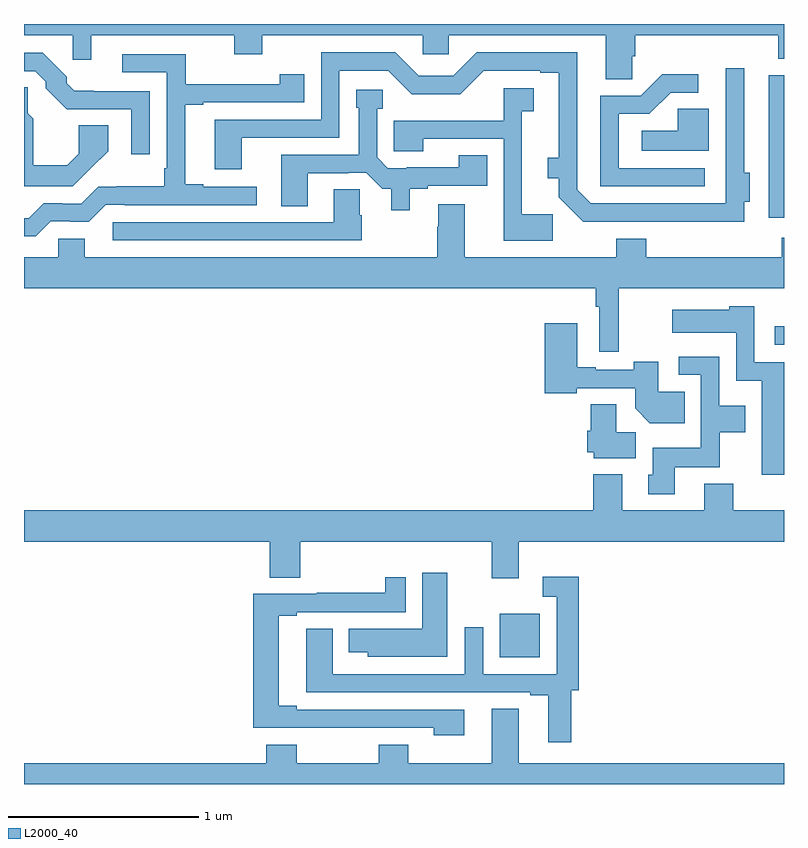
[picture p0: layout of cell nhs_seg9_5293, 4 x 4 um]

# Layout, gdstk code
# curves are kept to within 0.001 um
import gdstk
lib = gdstk.Library(unit=1e-6, precision=1e-09)
def R(c, l, rs):  # rectangles x0, y0, x1, y1
    for r in rs: c.add(gdstk.rectangle(r[:2], r[2:], *l))
def P(c, l, *ps):  # polygons
    for p in ps: c.add(gdstk.Polygon(p, *l))
L2000_40 = (2000, 40)

nhs_seg9_5293 = lib.new_cell('nhs_seg9_5293')
R(nhs_seg9_5293, L2000_40, [(421.505,1173.167,421.714,1173.397), (422.952,1174.812,423,1174.909), (422.919,1175.481,423,1176.231)])
P(nhs_seg9_5293, L2000_40, [(422.202,1176.331),(422.216,1176.331),(422.216,1176.44),(422.969,1176.44),(422.969,1176.316),(423,1176.316),(423,1176.5),(419,1176.5),(419,1176.44),(419.257,1176.44),(419.257,1176.311),(419.353,1176.311),(419.353,1176.44),(420.107,1176.44),(420.107,1176.341),(420.255,1176.341),(420.255,1176.44),(421.098,1176.44),(421.098,1176.342),(421.236,1176.342),(421.236,1176.44),(422.063,1176.44),(422.063,1176.208),(422.202,1176.208)],
  [(422.044,1175.46),(422.79,1175.459),(422.79,1175.564),(422.821,1175.564),(422.821,1175.717),(422.79,1175.717),(422.79,1176.268),(422.694,1176.268),(422.694,1175.556),(421.983,1175.556),(421.911,1175.628),(421.911,1176.351),(421.383,1176.351),(421.26,1176.228),(421.077,1176.228),(420.954,1176.351),(420.564,1176.351),(420.564,1175.997),(420.005,1175.997),(420.005,1175.736),(420.145,1175.736),(420.145,1175.901),(420.66,1175.901),(420.66,1176.255),(420.918,1176.255),(421.042,1176.131),(421.296,1176.131),(421.42,1176.255),(421.718,1176.255),(421.718,1176.243),(421.814,1176.243),(421.814,1175.797),(421.757,1175.797),(421.757,1175.687),(421.814,1175.687),(421.814,1175.588),(421.943,1175.459)],
  [(419.661,1176.147),(419.264,1176.148),(419.224,1176.189),(419.224,1176.223),(419.098,1176.348),(419,1176.348),(419,1176.252),(419.058,1176.252),(419.115,1176.195),(419.115,1176.161),(419.225,1176.051),(419.565,1176.051),(419.565,1175.814),(419.661,1175.814)],
  [(419.142,1175.463),(419.243,1175.463),(419.243,1175.46),(419.34,1175.46),(419.43,1175.55),(419.53,1175.55),(419.53,1175.547),(420.226,1175.547),(420.226,1175.643),(419.944,1175.643),(419.944,1175.656),(419.848,1175.656),(419.848,1176.075),(419.944,1176.075),(419.944,1176.087),(420.475,1176.087),(420.475,1176.235),(420.347,1176.235),(420.347,1176.184),(419.852,1176.184),(419.852,1176.342),(419.517,1176.342),(419.517,1176.246),(419.751,1176.246),(419.751,1175.74),(419.739,1175.74),(419.739,1175.647),(419.488,1175.647),(419.488,1175.643),(419.391,1175.643),(419.301,1175.553),(419.201,1175.553),(419.201,1175.556),(419.103,1175.556),(419.025,1175.478),(419,1175.478),(419,1175.384),(419.063,1175.384)],
  [(422.584,1175.742),(422.13,1175.742),(422.13,1176.027),(422.292,1176.027),(422.403,1176.138),(422.548,1176.138),(422.548,1176.236),(422.36,1176.236),(422.247,1176.123),(422.034,1176.123),(422.034,1175.646),(422.584,1175.646)],
  [(419.354,1175.743),(419.443,1175.83),(419.443,1175.966),(419.289,1175.966),(419.289,1175.818),(419.227,1175.757),(419.048,1175.757),(419.048,1176.002),(419.019,1176.031),(419.019,1176.166),(419,1176.166),(419,1175.646),(419.257,1175.646)],
  [(421.782,1175.499),(421.621,1175.499),(421.621,1176.042),(421.684,1176.042),(421.684,1176.163),(421.524,1176.163),(421.524,1175.992),(421.057,1175.992),(421.057,1175.991),(420.947,1175.991),(420.947,1175.83),(421.101,1175.83),(421.101,1175.895),(421.524,1175.895),(421.524,1175.36),(421.782,1175.36)],
  [(421.03,1175.634),(421.126,1175.634),(421.126,1175.649),(421.439,1175.649),(421.439,1175.81),(421.288,1175.81),(421.288,1175.745),(421.015,1175.745),(421.015,1175.742),(420.915,1175.742),(420.858,1175.799),(420.858,1176.055),(420.888,1176.055),(420.888,1176.153),(420.749,1176.153),(420.749,1176.06),(420.762,1176.06),(420.762,1175.811),(420.353,1175.811),(420.353,1175.542),(420.493,1175.542),(420.493,1175.715),(420.707,1175.715),(420.707,1175.718),(420.801,1175.718),(420.885,1175.634),(420.932,1175.634),(420.932,1175.52),(421.03,1175.52)],
  [(422.605,1176.053),(422.442,1176.053),(422.442,1175.938),(422.25,1175.938),(422.25,1175.834),(422.605,1175.834)],
  [(420.777,1175.493),(420.767,1175.493),(420.767,1175.63),(420.629,1175.63),(420.629,1175.457),(419.466,1175.457),(419.466,1175.361),(420.777,1175.361)],
  [(422.129,1175.108),(423,1175.108),(423,1175.374),(422.987,1175.374),(422.987,1175.272),(422.276,1175.272),(422.276,1175.371),(422.116,1175.371),(422.116,1175.272),(421.321,1175.272),(421.321,1175.551),(421.181,1175.551),(421.181,1175.432),(421.174,1175.432),(421.174,1175.272),(419.32,1175.272),(419.32,1175.37),(419.181,1175.37),(419.181,1175.272),(419,1175.272),(419,1175.108),(422.008,1175.108),(422.008,1175.012),(422.028,1175.012),(422.028,1174.776),(422.129,1174.776)],
  [(423,1174.719),(422.844,1174.719),(422.844,1175.014),(422.712,1175.014),(422.712,1174.996),(422.412,1174.996),(422.412,1174.874),(422.748,1174.874),(422.748,1174.622),(422.882,1174.622),(422.882,1174.128),(423,1174.128)],
  [(422.477,1174.564),(422.338,1174.564),(422.338,1174.722),(422.209,1174.722),(422.209,1174.68),(422.008,1174.68),(422.008,1174.693),(421.912,1174.693),(421.912,1174.924),(421.742,1174.924),(421.742,1174.556),(421.908,1174.556),(421.908,1174.584),(422.216,1174.584),(422.216,1174.478),(422.294,1174.4),(422.477,1174.4)],
  [(422.425,1174.166),(422.661,1174.166),(422.661,1174.352),(422.797,1174.352),(422.797,1174.492),(422.658,1174.492),(422.658,1174.749),(422.445,1174.749),(422.445,1174.653),(422.562,1174.653),(422.562,1174.27),(422.309,1174.27),(422.309,1174.128),(422.285,1174.128),(422.285,1174.026),(422.425,1174.026)],
  [(422.221,1174.352),(422.116,1174.352),(422.116,1174.499),(421.982,1174.499),(421.982,1174.359),(421.964,1174.359),(421.964,1174.245),(421.998,1174.245),(421.998,1174.214),(422.221,1174.214)],
  [(421.603,1173.776),(423,1173.776),(423,1173.94),(422.732,1173.94),(422.732,1174.081),(422.579,1174.081),(422.579,1173.94),(422.149,1173.94),(422.149,1174.129),(421.997,1174.129),(421.997,1173.94),(419,1173.94),(419,1173.776),(420.293,1173.776),(420.293,1173.586),(420.453,1173.586),(420.453,1173.776),(421.463,1173.776),(421.463,1173.582),(421.603,1173.582)],
  [(421.228,1173.613),(421.097,1173.613),(421.097,1173.316),(420.71,1173.316),(420.71,1173.194),(420.81,1173.194),(420.81,1173.17),(421.228,1173.17)],
  [(421.879,1172.994),(421.919,1172.994),(421.919,1173.592),(421.731,1173.592),(421.731,1173.486),(421.803,1173.486),(421.803,1173.078),(421.416,1173.078),(421.416,1173.325),(421.32,1173.325),(421.32,1173.078),(420.625,1173.078),(420.625,1173.316),(420.485,1173.316),(420.485,1172.982),(421.664,1172.982),(421.664,1172.967),(421.76,1172.967),(421.76,1172.721),(421.879,1172.721)],
  [(421.318,1172.892),(420.436,1172.892),(420.436,1172.912),(420.34,1172.912),(420.34,1173.385),(420.436,1173.385),(420.436,1173.405),(421.008,1173.405),(421.008,1173.589),(420.9,1173.589),(420.9,1173.506),(420.541,1173.506),(420.541,1173.501),(420.206,1173.501),(420.206,1172.796),(420.523,1172.796),(420.523,1172.795),(420.779,1172.795),(420.779,1172.796),(421.157,1172.796),(421.157,1172.756),(421.318,1172.756)],
  [(423,1172.608),(421.603,1172.608),(421.603,1172.897),(421.463,1172.897),(421.463,1172.608),(421.023,1172.608),(421.023,1172.707),(420.868,1172.707),(420.868,1172.608),(420.435,1172.608),(420.435,1172.707),(420.275,1172.707),(420.275,1172.608),(419,1172.608),(419,1172.5),(423,1172.5)])

lib.write_gds('nhs_seg9_5293.gds')
